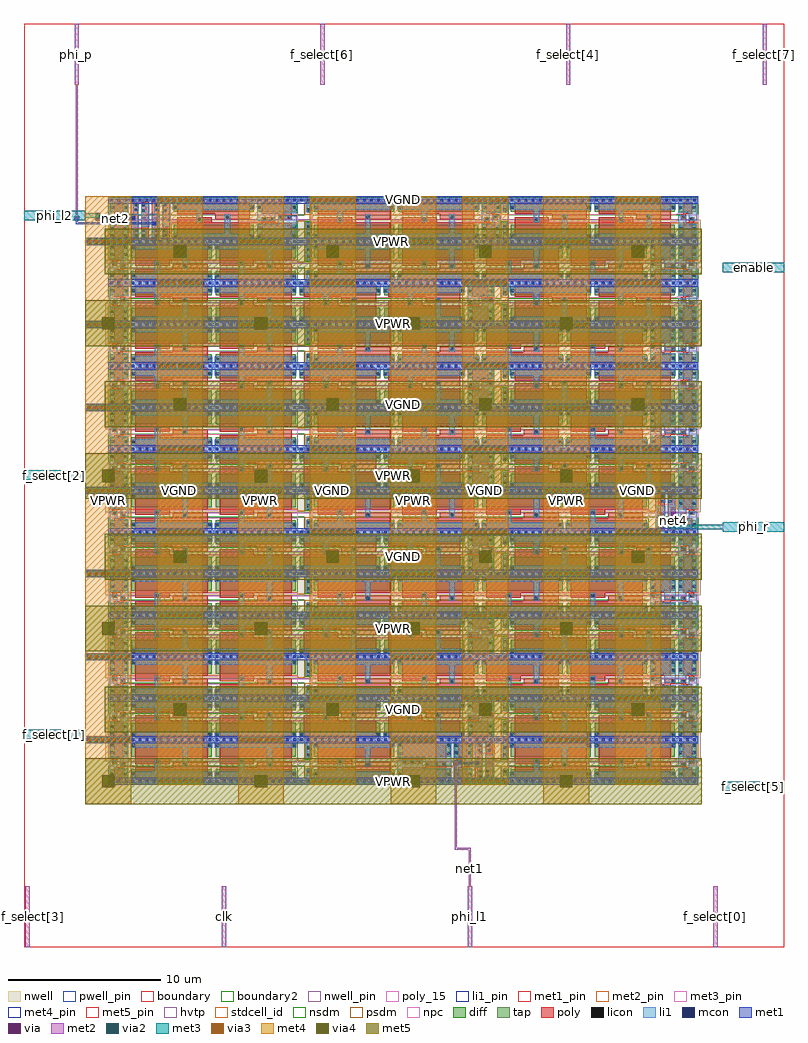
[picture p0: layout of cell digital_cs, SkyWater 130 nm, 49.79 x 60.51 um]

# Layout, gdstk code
from math import pi, radians
import gdstk
lib = gdstk.Library(unit=1e-6, precision=1e-09)
def R(c, l, rs):  # rectangles x0, y0, x1, y1
    for r in rs: c.add(gdstk.rectangle(r[:2], r[2:], *l))
def A(c, l, x, y, w, h, nx, ny, dx, dy):  # array of equal rectangles
    R(c, l, [(x+i*dx, y+j*dy, x+i*dx+w, y+j*dy+h) for i in range(nx) for j in range(ny)])
def P(c, l, *ps):  # polygons
    for p in ps: c.add(gdstk.Polygon(p, *l))
nwell_pin = (64, 16)
nwell = (64, 20)
diff = (65, 20)
tap = (65, 44)
poly_15 = (66, 15)
poly = (66, 20)
licon = (66, 44)
li1_pin = (67, 16)
li1 = (67, 20)
mcon = (67, 44)
met1_pin = (68, 16)
met1 = (68, 20)
via = (68, 44)
met2_pin = (69, 16)
met2 = (69, 20)
via2 = (69, 44)
met3_pin = (70, 16)
met3 = (70, 20)
via3 = (70, 44)
met4_pin = (71, 16)
met4 = (71, 20)
via4 = (71, 44)
met5_pin = (72, 16)
met5 = (72, 20)
hvtp = (78, 44)
stdcell_id = (81, 4)
nsdm = (93, 44)
psdm = (94, 20)
npc = (95, 20)
pwell_pin = (122, 16)
boundary = (235, 4)
boundary2 = (236, 0)

sky130_ef_sc_hd__decap_1 = lib.new_cell('sky130_ef_sc_hd__decap_12')
R(sky130_ef_sc_hd__decap_1, nwell_pin, [(0.145,2.635,0.315,2.805)])
R(sky130_ef_sc_hd__decap_1, nwell, [(-0.19,1.305,5.71,2.91)])
R(sky130_ef_sc_hd__decap_1, diff, [(0.135,0.235,5.385,0.785), (0.135,1.615,5.385,2.485)])
P(sky130_ef_sc_hd__decap_1, poly, [(5.125,2.615),(0.395,2.615),(0.395,1.125),(2.645,1.125),(2.645,1.485),(5.125,1.485)],
  [(5.125,1.275),(2.855,1.275),(2.855,0.915),(0.395,0.915),(0.395,0.105),(5.125,0.105)])
R(sky130_ef_sc_hd__decap_1, licon, [(0.175,0.39,0.345,0.56), (5.175,0.39,5.345,0.56), (3.575,1.025,3.745,1.195), (1.755,1.205,1.925,1.375), (0.175,2.255,0.345,2.425), (5.175,2.255,5.345,2.425)])
R(sky130_ef_sc_hd__decap_1, li1, [(0,-0.085,5.52,0.085), (0.085,0.085,5.43,0.63), (1.67,0.63,2.01,1.46), (3.49,0.95,3.84,2.2), (0.085,2.2,5.43,2.635), (0,2.635,5.52,2.805)])
A(sky130_ef_sc_hd__decap_1, mcon, 0.145, -0.085, 0.17, 0.17, 12, 2, 0.46, 2.72)
R(sky130_ef_sc_hd__decap_1, met1_pin, [(0.145,-0.085,0.315,0.085), (0.145,2.635,0.315,2.805)])
R(sky130_ef_sc_hd__decap_1, hvtp, [(0,1.25,5.52,2.72)])
R(sky130_ef_sc_hd__decap_1, stdcell_id, [(0,0,5.52,2.72)])
R(sky130_ef_sc_hd__decap_1, nsdm, [(0,-0.19,5.52,1.015)])
R(sky130_ef_sc_hd__decap_1, psdm, [(0,1.485,5.52,2.91)])
R(sky130_ef_sc_hd__decap_1, npc, [(0,0.925,5.52,1.475)])
R(sky130_ef_sc_hd__decap_1, pwell_pin, [(0.145,-0.085,0.315,0.085)])
R(sky130_ef_sc_hd__decap_1, boundary2, [(0,0,5.52,2.72)])
sky130_ef_sc_hd__decap_1.add(gdstk.FlexPath([(0,2.72),(5.52,2.72)], 0.48, ends="flush", simple_path=True, layer=68, datatype=20))  # met1
sky130_ef_sc_hd__decap_1.add(gdstk.FlexPath([(0,0),(5.52,0)], 0.48, ends="flush", simple_path=True, layer=68, datatype=20))  # met1
sky130_ef_sc_hd__decap_1.add(gdstk.Label('VGND', (0.23,0), layer=68, texttype=5))
sky130_ef_sc_hd__decap_1.add(gdstk.Label('VPWR', (0.23,2.72), layer=68, texttype=5))
sky130_ef_sc_hd__decap_1.add(gdstk.Label('VPB', (0.23,2.72), layer=64, texttype=5))
sky130_ef_sc_hd__decap_1.add(gdstk.Label('VNB', (0.23,0), layer=64, texttype=59))
sky130_ef_sc_hd__decap_1.add(gdstk.Label('decap_12', (0,0), layer=83, texttype=44))

sky130_fd_sc_hd__decap_3 = lib.new_cell('sky130_fd_sc_hd__decap_3')
R(sky130_fd_sc_hd__decap_3, nwell_pin, [(0.145,2.635,0.315,2.805)])
R(sky130_fd_sc_hd__decap_3, nwell, [(-0.19,1.305,1.57,2.91)])
R(sky130_fd_sc_hd__decap_3, diff, [(0.135,0.235,1.245,0.785), (0.135,1.615,1.245,2.485)])
P(sky130_fd_sc_hd__decap_3, poly, [(1.125,1.255),(0.795,1.255),(0.795,0.915),(0.395,0.915),(0.395,0.105),(0.985,0.105),(0.985,0.925),(1.125,0.925)],
  [(0.985,2.615),(0.395,2.615),(0.395,1.455),(0.255,1.455),(0.255,1.125),(0.585,1.125),(0.585,1.465),(0.985,1.465)])
R(sky130_fd_sc_hd__decap_3, licon, [(0.175,0.4,0.345,0.57), (1.035,0.4,1.205,0.57), (0.875,1.005,1.045,1.175), (0.335,1.205,0.505,1.375), (0.175,1.78,0.345,1.95), (1.035,1.78,1.205,1.95), (0.175,2.255,0.345,2.425), (1.035,2.255,1.205,2.425)])
P(sky130_fd_sc_hd__decap_3, li1, [(1.38,2.805),(0,2.805),(0,2.635),(0.085,2.635),(0.085,1.545),(0.775,1.545),(0.775,1.005),(1.295,1.005),(1.295,2.635),(1.38,2.635)],
  [(1.38,0.085),(1.295,0.085),(1.295,0.835),(0.605,0.835),(0.605,1.375),(0.085,1.375),(0.085,0.085),(0,0.085),(0,-0.085),(1.38,-0.085)])
A(sky130_fd_sc_hd__decap_3, mcon, 0.145, -0.085, 0.17, 0.17, 3, 2, 0.46, 2.72)
R(sky130_fd_sc_hd__decap_3, met1_pin, [(0.145,-0.085,0.315,0.085), (0.145,2.635,0.315,2.805)])
R(sky130_fd_sc_hd__decap_3, hvtp, [(0,1.25,1.38,2.72)])
R(sky130_fd_sc_hd__decap_3, stdcell_id, [(0,0,1.38,2.72)])
R(sky130_fd_sc_hd__decap_3, nsdm, [(0,-0.19,1.38,1.015)])
R(sky130_fd_sc_hd__decap_3, psdm, [(0,1.485,1.38,2.91)])
P(sky130_fd_sc_hd__decap_3, npc, [(1.38,1.345),(0.605,1.345),(0.605,1.475),(0,1.475),(0,0.975),(0.775,0.975),(0.775,0.905),(1.38,0.905)])
R(sky130_fd_sc_hd__decap_3, pwell_pin, [(0.145,-0.085,0.315,0.085)])
R(sky130_fd_sc_hd__decap_3, boundary2, [(0,0,1.38,2.72)])
sky130_fd_sc_hd__decap_3.add(gdstk.FlexPath([(0,2.72),(1.38,2.72)], 0.48, ends="flush", simple_path=True, layer=68, datatype=20))  # met1
sky130_fd_sc_hd__decap_3.add(gdstk.FlexPath([(0,0),(1.38,0)], 0.48, ends="flush", simple_path=True, layer=68, datatype=20))  # met1
sky130_fd_sc_hd__decap_3.add(gdstk.Label('VPWR', (0.23,2.72), layer=68, texttype=5))
sky130_fd_sc_hd__decap_3.add(gdstk.Label('VGND', (0.23,0), layer=68, texttype=5))
sky130_fd_sc_hd__decap_3.add(gdstk.Label('VPB', (0.23,2.72), layer=64, texttype=5))
sky130_fd_sc_hd__decap_3.add(gdstk.Label('VNB', (0.23,0), layer=64, texttype=59))
sky130_fd_sc_hd__decap_3.add(gdstk.Label('decap_3', (0,0), layer=83, texttype=44))

sky130_fd_sc_hd__fill_1 = lib.new_cell('sky130_fd_sc_hd__fill_1')
R(sky130_fd_sc_hd__fill_1, nwell_pin, [(0.155,2.67,0.255,2.755)])
R(sky130_fd_sc_hd__fill_1, nwell, [(-0.19,1.305,0.65,2.91)])
R(sky130_fd_sc_hd__fill_1, mcon, [(0.145,-0.085,0.315,0.085), (0.145,2.635,0.315,2.805)])
R(sky130_fd_sc_hd__fill_1, met1_pin, [(0.11,-0.065,0.29,0.08), (0.11,2.635,0.29,2.785)])
R(sky130_fd_sc_hd__fill_1, hvtp, [(0,1.25,0.46,2.72)])
R(sky130_fd_sc_hd__fill_1, stdcell_id, [(0,0,0.46,2.72)])
R(sky130_fd_sc_hd__fill_1, nsdm, [(0,-0.19,0.46,1.015)])
R(sky130_fd_sc_hd__fill_1, psdm, [(0,1.355,0.46,2.91)])
R(sky130_fd_sc_hd__fill_1, pwell_pin, [(0.14,-0.055,0.26,0.055)])
sky130_fd_sc_hd__fill_1.add(gdstk.FlexPath([(0,0),(0.46,0)], 0.17, ends="flush", simple_path=True, layer=67, datatype=20))  # li1
sky130_fd_sc_hd__fill_1.add(gdstk.FlexPath([(0,2.72),(0.46,2.72)], 0.17, ends="flush", simple_path=True, layer=67, datatype=20))  # li1
sky130_fd_sc_hd__fill_1.add(gdstk.FlexPath([(0,2.72),(0.46,2.72)], 0.48, ends="flush", simple_path=True, layer=68, datatype=20))  # met1
sky130_fd_sc_hd__fill_1.add(gdstk.FlexPath([(0,0),(0.46,0)], 0.48, ends="flush", simple_path=True, layer=68, datatype=20))  # met1
sky130_fd_sc_hd__fill_1.add(gdstk.Label('VPWR', (0.205,2.72), layer=68, texttype=5))
sky130_fd_sc_hd__fill_1.add(gdstk.Label('VGND', (0.205,0), layer=68, texttype=5))
sky130_fd_sc_hd__fill_1.add(gdstk.Label('VPB', (0.23,2.72), layer=64, texttype=5))
sky130_fd_sc_hd__fill_1.add(gdstk.Label('VNB', (0.23,0), layer=64, texttype=59))
sky130_fd_sc_hd__fill_1.add(gdstk.Label('fill_1', (0,0), layer=83, texttype=44))

sky130_fd_sc_hd__tapvpwr = lib.new_cell('sky130_fd_sc_hd__tapvpwrvgnd_1')
R(sky130_fd_sc_hd__tapvpwr, nwell, [(-0.19,1.305,0.65,2.91)])
R(sky130_fd_sc_hd__tapvpwr, tap, [(0.145,0.32,0.315,0.845), (0.145,1.525,0.315,2.4)])
R(sky130_fd_sc_hd__tapvpwr, licon, [(0.145,0.555,0.315,0.725), (0.145,1.645,0.315,1.815), (0.145,2.11,0.315,2.28)])
R(sky130_fd_sc_hd__tapvpwr, li1, [(0,-0.085,0.46,0.085), (0.085,0,0.375,0.81), (0.085,1.47,0.375,2.72), (0,2.635,0.46,2.805)])
R(sky130_fd_sc_hd__tapvpwr, mcon, [(0.145,-0.085,0.315,0.085), (0.145,2.635,0.315,2.805)])
R(sky130_fd_sc_hd__tapvpwr, met1_pin, [(0.105,-0.09,0.36,0.1), (0.11,2.62,0.375,2.765)])
R(sky130_fd_sc_hd__tapvpwr, met1, [(0,-0.24,0.46,0.24), (0,2.48,0.46,2.96)])
R(sky130_fd_sc_hd__tapvpwr, hvtp, [(0,1.25,0.46,2.72)])
R(sky130_fd_sc_hd__tapvpwr, stdcell_id, [(0,0,0.46,2.72)])
R(sky130_fd_sc_hd__tapvpwr, nsdm, [(0,-0.19,0.46,0.19), (0,1.395,0.46,2.53)])
R(sky130_fd_sc_hd__tapvpwr, psdm, [(0,0.19,0.46,0.975), (0,2.53,0.46,2.91)])
sky130_fd_sc_hd__tapvpwr.add(gdstk.Label('VPWR', (0.23,2.72), layer=68, texttype=5))
sky130_fd_sc_hd__tapvpwr.add(gdstk.Label('VGND', (0.23,0), layer=68, texttype=5))
sky130_fd_sc_hd__tapvpwr.add(gdstk.Label('tapvpwrvgnd_1', (0,0), layer=83, texttype=44))

sky130_fd_sc_hd__decap_8 = lib.new_cell('sky130_fd_sc_hd__decap_8')
R(sky130_fd_sc_hd__decap_8, nwell_pin, [(0.145,2.635,0.315,2.805)])
R(sky130_fd_sc_hd__decap_8, nwell, [(-0.19,1.305,3.87,2.91)])
R(sky130_fd_sc_hd__decap_8, diff, [(0.135,0.235,3.545,0.785), (0.135,1.615,3.545,2.485)])
P(sky130_fd_sc_hd__decap_8, poly, [(3.285,2.615),(0.395,2.615),(0.395,1.125),(1.715,1.125),(1.715,1.485),(3.285,1.485)],
  [(3.285,1.275),(1.925,1.275),(1.925,0.915),(0.395,0.915),(0.395,0.105),(3.285,0.105)])
A(sky130_fd_sc_hd__decap_8, licon, 2.005, 1.025, 0.17, 0.17, 3, 1, 0.515, 0)
A(sky130_fd_sc_hd__decap_8, licon, 0.475, 1.205, 0.17, 0.17, 3, 1, 0.495, 0)
R(sky130_fd_sc_hd__decap_8, licon, [(0.175,0.39,0.345,0.56), (3.335,0.39,3.505,0.56), (0.175,1.745,0.345,1.915), (3.335,1.745,3.505,1.915), (0.175,2.255,0.345,2.425), (3.335,2.255,3.505,2.425)])
P(sky130_fd_sc_hd__decap_8, li1, [(3.68,0.085),(3.595,0.085),(3.595,0.855),(1.735,0.855),(1.735,1.375),(0.085,1.375),(0.085,0.085),(0,0.085),(0,-0.085),(3.68,-0.085)],
  [(3.68,2.805),(0,2.805),(0,2.635),(0.085,2.635),(0.085,1.545),(1.905,1.545),(1.905,1.025),(3.595,1.025),(3.595,2.635),(3.68,2.635)])
A(sky130_fd_sc_hd__decap_8, mcon, 0.145, -0.085, 0.17, 0.17, 8, 2, 0.46, 2.72)
R(sky130_fd_sc_hd__decap_8, met1_pin, [(0.145,-0.085,0.315,0.085), (0.145,2.635,0.315,2.805)])
R(sky130_fd_sc_hd__decap_8, hvtp, [(0,1.25,3.68,2.72)])
R(sky130_fd_sc_hd__decap_8, stdcell_id, [(0,0,3.68,2.72)])
R(sky130_fd_sc_hd__decap_8, nsdm, [(0,-0.19,3.68,1.015)])
R(sky130_fd_sc_hd__decap_8, psdm, [(0,1.485,3.68,2.91)])
P(sky130_fd_sc_hd__decap_8, npc, [(3.68,1.345),(1.735,1.345),(1.735,1.475),(0,1.475),(0,0.975),(1.905,0.975),(1.905,0.925),(3.68,0.925)])
R(sky130_fd_sc_hd__decap_8, pwell_pin, [(0.145,-0.085,0.315,0.085)])
R(sky130_fd_sc_hd__decap_8, boundary2, [(0,0,3.68,2.72)])
sky130_fd_sc_hd__decap_8.add(gdstk.FlexPath([(0,2.72),(3.68,2.72)], 0.48, ends="flush", simple_path=True, layer=68, datatype=20))  # met1
sky130_fd_sc_hd__decap_8.add(gdstk.FlexPath([(0,0),(3.68,0)], 0.48, ends="flush", simple_path=True, layer=68, datatype=20))  # met1
sky130_fd_sc_hd__decap_8.add(gdstk.Label('VPWR', (0.23,2.72), layer=68, texttype=5))
sky130_fd_sc_hd__decap_8.add(gdstk.Label('VGND', (0.23,0), layer=68, texttype=5))
sky130_fd_sc_hd__decap_8.add(gdstk.Label('VPB', (0.23,2.72), layer=64, texttype=5))
sky130_fd_sc_hd__decap_8.add(gdstk.Label('VNB', (0.23,0), layer=64, texttype=59))
sky130_fd_sc_hd__decap_8.add(gdstk.Label('decap_8', (0,0), layer=83, texttype=44))

sky130_fd_sc_hd__decap_4 = lib.new_cell('sky130_fd_sc_hd__decap_4')
R(sky130_fd_sc_hd__decap_4, nwell_pin, [(0.145,2.635,0.315,2.805)])
R(sky130_fd_sc_hd__decap_4, nwell, [(-0.19,1.305,2.03,2.91)])
R(sky130_fd_sc_hd__decap_4, diff, [(0.135,0.235,1.705,0.785), (0.135,1.615,1.705,2.485)])
P(sky130_fd_sc_hd__decap_4, poly, [(1.445,2.615),(0.395,2.615),(0.395,1.455),(0.105,1.455),(0.105,1.125),(0.815,1.125),(0.815,1.485),(1.445,1.485)],
  [(1.735,1.275),(1.025,1.275),(1.025,0.915),(0.395,0.915),(0.395,0.105),(1.445,0.105),(1.445,0.945),(1.735,0.945)])
R(sky130_fd_sc_hd__decap_4, licon, [(0.175,0.425,0.345,0.595), (1.495,0.425,1.665,0.595), (1.485,1.025,1.655,1.195), (0.185,1.205,0.355,1.375), (0.175,1.745,0.345,1.915), (1.495,1.745,1.665,1.915), (0.175,2.255,0.345,2.425), (1.495,2.255,1.665,2.425)])
P(sky130_fd_sc_hd__decap_4, li1, [(1.84,2.805),(0,2.805),(0,2.635),(0.085,2.635),(0.085,1.545),(1.005,1.545),(1.005,1.025),(1.755,1.025),(1.755,2.635),(1.84,2.635)],
  [(1.84,0.085),(1.755,0.085),(1.755,0.855),(0.835,0.855),(0.835,1.375),(0.085,1.375),(0.085,0.085),(0,0.085),(0,-0.085),(1.84,-0.085)])
A(sky130_fd_sc_hd__decap_4, mcon, 0.145, -0.085, 0.17, 0.17, 4, 2, 0.46, 2.72)
R(sky130_fd_sc_hd__decap_4, met1_pin, [(0.145,-0.085,0.315,0.085), (0.145,2.635,0.315,2.805)])
R(sky130_fd_sc_hd__decap_4, hvtp, [(0,1.25,1.84,2.72)])
R(sky130_fd_sc_hd__decap_4, stdcell_id, [(0,0,1.84,2.72)])
R(sky130_fd_sc_hd__decap_4, nsdm, [(0,-0.19,1.84,1.015)])
R(sky130_fd_sc_hd__decap_4, psdm, [(0,1.485,1.84,2.91)])
P(sky130_fd_sc_hd__decap_4, npc, [(1.84,1.345),(0.455,1.345),(0.455,1.475),(0,1.475),(0,0.975),(1.385,0.975),(1.385,0.925),(1.84,0.925)])
R(sky130_fd_sc_hd__decap_4, pwell_pin, [(0.145,-0.085,0.315,0.085)])
R(sky130_fd_sc_hd__decap_4, boundary2, [(0,0,1.84,2.72)])
sky130_fd_sc_hd__decap_4.add(gdstk.FlexPath([(0,2.72),(1.84,2.72)], 0.48, ends="flush", simple_path=True, layer=68, datatype=20))  # met1
sky130_fd_sc_hd__decap_4.add(gdstk.FlexPath([(0,0),(1.84,0)], 0.48, ends="flush", simple_path=True, layer=68, datatype=20))  # met1
sky130_fd_sc_hd__decap_4.add(gdstk.Label('VGND', (0.23,0), layer=68, texttype=5))
sky130_fd_sc_hd__decap_4.add(gdstk.Label('VPWR', (0.23,2.72), layer=68, texttype=5))
sky130_fd_sc_hd__decap_4.add(gdstk.Label('VPB', (0.23,2.72), layer=64, texttype=5))
sky130_fd_sc_hd__decap_4.add(gdstk.Label('VNB', (0.23,0), layer=64, texttype=59))
sky130_fd_sc_hd__decap_4.add(gdstk.Label('decap_4', (0,0), layer=83, texttype=44))

sky130_fd_sc_hd__conb_1 = lib.new_cell('sky130_fd_sc_hd__conb_1')
R(sky130_fd_sc_hd__conb_1, nwell_pin, [(0.145,2.635,0.315,2.805)])
R(sky130_fd_sc_hd__conb_1, nwell, [(-0.19,1.305,1.57,2.91)])
R(sky130_fd_sc_hd__conb_1, poly_15, [(0.105,1.16,0.585,1.205), (0.795,1.16,1.275,1.205)])
R(sky130_fd_sc_hd__conb_1, poly, [(0.105,0.105,0.585,2.615), (0.795,0.105,1.275,2.615)])
R(sky130_fd_sc_hd__conb_1, licon, [(0.855,0.235,1.025,0.405), (0.355,0.255,0.525,0.425), (0.855,0.575,1.025,0.745), (0.355,0.595,0.525,0.765), (0.355,1.91,0.525,2.08), (0.855,1.91,1.025,2.08), (0.355,2.25,0.525,2.42), (0.855,2.25,1.025,2.42)])
R(sky130_fd_sc_hd__conb_1, li1_pin, [(0.335,1.125,0.505,1.295), (0.97,1.445,1.14,1.615)])
R(sky130_fd_sc_hd__conb_1, li1, [(0.085,0.255,0.605,1.74), (0.775,0.915,1.295,2.465)])
P(sky130_fd_sc_hd__conb_1, li1, [(1.38,0.085),(1.115,0.085),(1.115,0.745),(0.775,0.745),(0.775,0.085),(0,0.085),(0,-0.085),(1.38,-0.085)],
  [(1.38,2.805),(0,2.805),(0,2.635),(0.275,2.635),(0.275,1.91),(0.605,1.91),(0.605,2.635),(1.38,2.635)])
A(sky130_fd_sc_hd__conb_1, mcon, 0.145, -0.085, 0.17, 0.17, 3, 2, 0.46, 2.72)
R(sky130_fd_sc_hd__conb_1, met1_pin, [(0.145,-0.085,0.315,0.085), (0.145,2.635,0.315,2.805)])
R(sky130_fd_sc_hd__conb_1, hvtp, [(0,1.25,1.38,2.72)])
R(sky130_fd_sc_hd__conb_1, stdcell_id, [(0,0,1.38,2.72)])
R(sky130_fd_sc_hd__conb_1, nsdm, [(0,-0.19,1.38,1.015)])
R(sky130_fd_sc_hd__conb_1, psdm, [(0,2.53,1.38,2.91)])
R(sky130_fd_sc_hd__conb_1, npc, [(0.255,1.81,1.125,2.52)])
P(sky130_fd_sc_hd__conb_1, npc, [(1.38,1.345),(0,1.345),(0,0.905),(0.255,0.905),(0.255,0.135),(1.125,0.135),(1.125,0.905),(1.38,0.905)])
R(sky130_fd_sc_hd__conb_1, pwell_pin, [(0.145,-0.085,0.315,0.085)])
R(sky130_fd_sc_hd__conb_1, boundary2, [(0,0,1.38,2.72)])
sky130_fd_sc_hd__conb_1.add(gdstk.FlexPath([(0,0),(1.38,0)], 0.48, ends="flush", simple_path=True, layer=68, datatype=20))  # met1
sky130_fd_sc_hd__conb_1.add(gdstk.FlexPath([(0,2.72),(1.38,2.72)], 0.48, ends="flush", simple_path=True, layer=68, datatype=20))  # met1
sky130_fd_sc_hd__conb_1.add(gdstk.Label('LO', (1.055,1.53), layer=67, texttype=5))
sky130_fd_sc_hd__conb_1.add(gdstk.Label('HI', (0.42,1.21), layer=67, texttype=5))
sky130_fd_sc_hd__conb_1.add(gdstk.Label('VPB', (0.23,2.72), layer=64, texttype=5))
sky130_fd_sc_hd__conb_1.add(gdstk.Label('VNB', (0.23,0), layer=64, texttype=59))
sky130_fd_sc_hd__conb_1.add(gdstk.Label('VGND', (0.23,0), layer=68, texttype=5))
sky130_fd_sc_hd__conb_1.add(gdstk.Label('VPWR', (0.23,2.72), layer=68, texttype=5))
sky130_fd_sc_hd__conb_1.add(gdstk.Label('conb_1', (0,0), layer=83, texttype=44))
sky130_fd_sc_hd__conb_1.add(gdstk.Label('resistive_li1_ok', (0.225,1.365), layer=83, texttype=44))
sky130_fd_sc_hd__conb_1.add(gdstk.Label('resistive_li1_ok', (1.165,1.365), layer=83, texttype=44))
sky130_fd_sc_hd__conb_1.add(gdstk.Label('no_jumper_check', (0.93,1.29), layer=83, texttype=44))
sky130_fd_sc_hd__conb_1.add(gdstk.Label('no_jumper_check', (0.415,1.29), layer=83, texttype=44))

sky130_fd_sc_hd__decap_6 = lib.new_cell('sky130_fd_sc_hd__decap_6')
R(sky130_fd_sc_hd__decap_6, nwell_pin, [(0.145,2.635,0.315,2.805)])
R(sky130_fd_sc_hd__decap_6, nwell, [(-0.19,1.305,2.95,2.91)])
R(sky130_fd_sc_hd__decap_6, diff, [(0.135,0.235,2.625,0.785), (0.135,1.615,2.625,2.485)])
P(sky130_fd_sc_hd__decap_6, poly, [(2.365,2.615),(0.395,2.615),(0.395,1.125),(1.275,1.125),(1.275,1.485),(2.365,1.485)],
  [(2.365,1.275),(1.485,1.275),(1.485,0.915),(0.395,0.915),(0.395,0.105),(2.365,0.105)])
R(sky130_fd_sc_hd__decap_6, licon, [(0.175,0.39,0.345,0.56), (2.415,0.39,2.585,0.56), (1.565,1.025,1.735,1.195), (2.115,1.025,2.285,1.195), (0.475,1.205,0.645,1.375), (1.025,1.205,1.195,1.375), (0.175,1.745,0.345,1.915), (2.415,1.745,2.585,1.915), (0.175,2.255,0.345,2.425), (2.415,2.255,2.585,2.425)])
P(sky130_fd_sc_hd__decap_6, li1, [(2.76,0.085),(2.675,0.085),(2.675,0.855),(1.295,0.855),(1.295,1.375),(0.085,1.375),(0.085,0.085),(0,0.085),(0,-0.085),(2.76,-0.085)],
  [(2.76,2.805),(0,2.805),(0,2.635),(0.085,2.635),(0.085,1.545),(1.465,1.545),(1.465,1.025),(2.675,1.025),(2.675,2.635),(2.76,2.635)])
A(sky130_fd_sc_hd__decap_6, mcon, 0.145, -0.085, 0.17, 0.17, 6, 2, 0.46, 2.72)
R(sky130_fd_sc_hd__decap_6, met1_pin, [(0.145,-0.085,0.315,0.085), (0.145,2.635,0.315,2.805)])
R(sky130_fd_sc_hd__decap_6, hvtp, [(0,1.25,2.76,2.72)])
R(sky130_fd_sc_hd__decap_6, stdcell_id, [(0,0,2.76,2.72)])
R(sky130_fd_sc_hd__decap_6, nsdm, [(0,-0.19,2.76,1.015)])
R(sky130_fd_sc_hd__decap_6, psdm, [(0,1.485,2.76,2.91)])
P(sky130_fd_sc_hd__decap_6, npc, [(2.76,1.345),(1.295,1.345),(1.295,1.475),(0,1.475),(0,0.975),(1.465,0.975),(1.465,0.925),(2.76,0.925)])
R(sky130_fd_sc_hd__decap_6, pwell_pin, [(0.145,-0.085,0.315,0.085)])
R(sky130_fd_sc_hd__decap_6, boundary2, [(0,0,2.76,2.72)])
sky130_fd_sc_hd__decap_6.add(gdstk.FlexPath([(0,2.72),(2.76,2.72)], 0.48, ends="flush", simple_path=True, layer=68, datatype=20))  # met1
sky130_fd_sc_hd__decap_6.add(gdstk.FlexPath([(0,0),(2.76,0)], 0.48, ends="flush", simple_path=True, layer=68, datatype=20))  # met1
sky130_fd_sc_hd__decap_6.add(gdstk.Label('VPWR', (0.23,2.72), layer=68, texttype=5))
sky130_fd_sc_hd__decap_6.add(gdstk.Label('VGND', (0.23,0), layer=68, texttype=5))
sky130_fd_sc_hd__decap_6.add(gdstk.Label('VPB', (0.23,2.72), layer=64, texttype=5))
sky130_fd_sc_hd__decap_6.add(gdstk.Label('VNB', (0.23,0), layer=64, texttype=59))
sky130_fd_sc_hd__decap_6.add(gdstk.Label('decap_6', (0,0), layer=83, texttype=44))

digital_cs = lib.new_cell('digital_cs')
R(digital_cs, li1, [(29.585,11.985,29.755,12.155), (42.465,28.305,42.635,28.475), (8.425,47.345,8.595,47.515), (7.045,47.685,7.215,47.855)])
R(digital_cs, mcon, [(29.585,11.985,29.755,12.155), (42.465,28.305,42.635,28.475), (8.425,47.345,8.595,47.515), (7.045,47.685,7.215,47.855)])
A(digital_cs, met1, 5.52, 10.64, 38.64, 0.48, 1, 8, 0, 5.44)
A(digital_cs, met1, 4.02, 13.36, 40.14, 0.48, 1, 7, 0, 5.44)
R(digital_cs, met1, [(28.13,11.94,28.45,12), (29.525,11.955,29.815,12), (28.13,12,29.815,12.14), (28.13,12.14,28.45,12.2), (29.525,12.14,29.815,12.185), (42.39,28.26,42.71,28.52), (8.365,47.315,8.655,47.36), (3.38,47.36,8.655,47.5), (3.38,47.5,3.52,47.64), (8.365,47.5,8.655,47.545), (3.29,47.64,3.61,47.9), (4.67,47.64,4.99,47.7), (6.985,47.655,7.275,47.7), (4.67,47.7,7.275,47.84), (4.67,47.84,4.99,47.9), (6.985,47.84,7.275,47.885)])
A(digital_cs, via, 8.865, 10.805, 0.15, 0.15, 9, 8, 0.32, 5.44)
A(digital_cs, via, 18.865, 10.805, 0.15, 0.15, 9, 8, 0.32, 5.44)
A(digital_cs, via, 28.865, 10.805, 0.15, 0.15, 9, 8, 0.32, 5.44)
A(digital_cs, via, 38.865, 10.805, 0.15, 0.15, 9, 8, 0.32, 5.44)
A(digital_cs, via, 4.165, 13.525, 0.15, 0.15, 9, 7, 0.32, 5.44)
A(digital_cs, via, 14.165, 13.525, 0.15, 0.15, 9, 7, 0.32, 5.44)
A(digital_cs, via, 24.165, 13.525, 0.15, 0.15, 9, 7, 0.32, 5.44)
A(digital_cs, via, 34.165, 13.525, 0.15, 0.15, 9, 7, 0.32, 5.44)
R(digital_cs, via, [(28.215,11.995,28.365,12.145), (42.475,28.315,42.625,28.465), (3.375,47.695,3.525,47.845), (4.755,47.695,4.905,47.845)])
A(digital_cs, met2_pin, 12.97, 0, 0.28, 4, 3, 1, 16.1, 0)
A(digital_cs, met2_pin, 3.31, 56.51, 0.28, 4, 3, 1, 16.1, 0)
R(digital_cs, met2_pin, [(0.09,0,0.37,4), (48.39,56.51,48.67,60.51)])
A(digital_cs, met2, 12.97, 0, 0.28, 4, 3, 1, 16.1, 0)
A(digital_cs, met2, 8.81, 10.695, 2.82, 0.37, 4, 8, 10, 5.44)
A(digital_cs, met2, 4.11, 13.415, 2.82, 0.37, 4, 7, 10, 5.44)
A(digital_cs, met2, 3.31, 56.51, 0.28, 4, 3, 1, 16.1, 0)
R(digital_cs, met2, [(0.09,0,0.37,4), (29.14,4,29.28,6.39), (28.22,6.39,29.28,6.53), (28.22,6.53,28.36,11.91), (28.16,11.91,28.42,12.23), (42.41,27.355,42.69,27.725), (42.48,27.725,42.62,28.23), (42.42,28.23,42.68,28.55), (3.32,47.61,3.58,47.93), (4.7,47.61,4.96,47.755), (4.69,47.755,4.97,48.125), (3.38,47.93,3.52,56.51), (48.39,56.51,48.67,60.51)])
A(digital_cs, via2, 8.92, 10.78, 0.2, 0.2, 7, 8, 0.4, 5.44)
A(digital_cs, via2, 18.92, 10.78, 0.2, 0.2, 7, 8, 0.4, 5.44)
A(digital_cs, via2, 28.92, 10.78, 0.2, 0.2, 7, 8, 0.4, 5.44)
A(digital_cs, via2, 38.92, 10.78, 0.2, 0.2, 7, 8, 0.4, 5.44)
A(digital_cs, via2, 4.22, 13.5, 0.2, 0.2, 7, 7, 0.4, 5.44)
A(digital_cs, via2, 14.22, 13.5, 0.2, 0.2, 7, 7, 0.4, 5.44)
A(digital_cs, via2, 24.22, 13.5, 0.2, 0.2, 7, 7, 0.4, 5.44)
A(digital_cs, via2, 34.22, 13.5, 0.2, 0.2, 7, 7, 0.4, 5.44)
R(digital_cs, via2, [(42.45,27.44,42.65,27.64), (4.73,47.84,4.93,48.04)])
A(digital_cs, met3_pin, 45.79, 10.24, 4, 0.6, 1, 3, 0, 17)
A(digital_cs, met3_pin, 0, 13.64, 4, 0.6, 1, 3, 0, 17)
A(digital_cs, met3, 8.83, 10.715, 2.78, 0.33, 4, 8, 10, 5.44)
A(digital_cs, met3, 4.13, 13.435, 2.78, 0.33, 4, 7, 10, 5.44)
R(digital_cs, met3, [(45.79,10.24,49.79,10.84), (0,13.64,4,14.24), (45.79,27.24,49.79,27.39), (42.385,27.375,42.715,27.39), (42.385,27.39,49.79,27.69), (42.385,27.69,42.715,27.705), (45.79,27.69,49.79,27.84), (0,30.64,4,31.24), (45.79,44.24,49.79,44.84), (0,47.64,4,47.79), (4.665,47.775,4.995,47.79), (0,47.79,4.995,48.09), (0,48.09,4,48.24), (4.665,48.09,4.995,48.105)])
A(digital_cs, via3, 8.92, 10.78, 0.2, 0.2, 7, 8, 0.4, 5.44)
A(digital_cs, via3, 18.92, 10.78, 0.2, 0.2, 7, 8, 0.4, 5.44)
A(digital_cs, via3, 28.92, 10.78, 0.2, 0.2, 7, 8, 0.4, 5.44)
A(digital_cs, via3, 38.92, 10.78, 0.2, 0.2, 7, 8, 0.4, 5.44)
A(digital_cs, via3, 4.22, 13.5, 0.2, 0.2, 7, 7, 0.4, 5.44)
A(digital_cs, via3, 14.22, 13.5, 0.2, 0.2, 7, 7, 0.4, 5.44)
A(digital_cs, via3, 24.22, 13.5, 0.2, 0.2, 7, 7, 0.4, 5.44)
A(digital_cs, via3, 34.22, 13.5, 0.2, 0.2, 7, 7, 0.4, 5.44)
A(digital_cs, met4_pin, 4.02, 9.38, 3, 39.82, 4, 1, 10, 0)
A(digital_cs, met4_pin, 8.72, 10.64, 3, 38.56, 4, 1, 10, 0)
A(digital_cs, met4, 4.02, 9.38, 3, 39.82, 4, 1, 10, 0)
A(digital_cs, met4, 8.72, 10.64, 3, 38.56, 4, 1, 10, 0)
A(digital_cs, via4, 5.12, 10.48, 0.8, 0.8, 4, 4, 10, 10)
A(digital_cs, via4, 9.82, 15.18, 0.8, 0.8, 4, 4, 10, 10)
A(digital_cs, met5_pin, 4.02, 9.38, 40.38, 3, 1, 4, 0, 10)
A(digital_cs, met5_pin, 5.28, 14.08, 39.12, 3, 1, 4, 0, 10)
A(digital_cs, met5, 4.02, 9.38, 40.38, 3, 1, 4, 0, 10)
A(digital_cs, met5, 5.28, 14.08, 39.12, 3, 1, 4, 0, 10)
R(digital_cs, boundary, [(0,0,49.79,60.51)])
digital_cs.add(gdstk.Reference(sky130_ef_sc_hd__decap_1, (6.9,10.88)))
digital_cs.add(gdstk.Reference(sky130_ef_sc_hd__decap_1, (6.9,16.32), x_reflection=True))
digital_cs.add(gdstk.Reference(sky130_fd_sc_hd__decap_3, (5.52,10.88)))
digital_cs.add(gdstk.Reference(sky130_fd_sc_hd__decap_3, (5.52,16.32), x_reflection=True))
digital_cs.add(gdstk.Reference(sky130_ef_sc_hd__decap_1, (12.42,10.88)))
digital_cs.add(gdstk.Reference(sky130_ef_sc_hd__decap_1, (12.42,16.32), x_reflection=True))
digital_cs.add(gdstk.Reference(sky130_fd_sc_hd__fill_1, (17.94,10.88)))
digital_cs.add(gdstk.Reference(sky130_ef_sc_hd__decap_1, (18.86,10.88)))
digital_cs.add(gdstk.Reference(sky130_ef_sc_hd__decap_1, (17.94,16.32), x_reflection=True))
digital_cs.add(gdstk.Reference(sky130_fd_sc_hd__tapvpwr, (18.4,10.88)))
digital_cs.add(gdstk.Reference(sky130_fd_sc_hd__decap_8, (24.38,10.88)))
digital_cs.add(gdstk.Reference(sky130_fd_sc_hd__decap_3, (28.06,10.88)))
digital_cs.add(gdstk.Reference(sky130_ef_sc_hd__decap_1, (23.46,16.32), x_reflection=True))
digital_cs.add(gdstk.Reference(sky130_fd_sc_hd__decap_4, (28.98,16.32), x_reflection=True))
digital_cs.add(gdstk.Reference(sky130_fd_sc_hd__fill_1, (30.82,10.88)))
digital_cs.add(gdstk.Reference(sky130_ef_sc_hd__decap_1, (31.74,10.88)))
digital_cs.add(gdstk.Reference(sky130_fd_sc_hd__fill_1, (30.82,16.32), x_reflection=True))
digital_cs.add(gdstk.Reference(sky130_ef_sc_hd__decap_1, (31.74,16.32), x_reflection=True))
digital_cs.add(gdstk.Reference(sky130_fd_sc_hd__tapvpwr, (31.28,10.88)))
digital_cs.add(gdstk.Reference(sky130_fd_sc_hd__tapvpwr, (31.28,16.32), x_reflection=True))
digital_cs.add(gdstk.Reference(sky130_fd_sc_hd__conb_1, (30.82,10.88), rotation=pi, x_reflection=True))
digital_cs.add(gdstk.Reference(sky130_ef_sc_hd__decap_1, (37.26,10.88)))
digital_cs.add(gdstk.Reference(sky130_ef_sc_hd__decap_1, (37.26,16.32), x_reflection=True))
digital_cs.add(gdstk.Reference(sky130_fd_sc_hd__decap_3, (44.16,10.88), rotation=pi, x_reflection=True))
digital_cs.add(gdstk.Reference(sky130_fd_sc_hd__decap_3, (44.16,16.32), rotation=pi))
digital_cs.add(gdstk.Reference(sky130_ef_sc_hd__decap_1, (6.9,16.32)))
digital_cs.add(gdstk.Reference(sky130_fd_sc_hd__decap_3, (5.52,16.32)))
digital_cs.add(gdstk.Reference(sky130_ef_sc_hd__decap_1, (12.42,16.32)))
digital_cs.add(gdstk.Reference(sky130_fd_sc_hd__fill_1, (17.94,16.32)))
digital_cs.add(gdstk.Reference(sky130_ef_sc_hd__decap_1, (18.86,16.32)))
digital_cs.add(gdstk.Reference(sky130_fd_sc_hd__tapvpwr, (18.4,16.32)))
digital_cs.add(gdstk.Reference(sky130_ef_sc_hd__decap_1, (24.38,16.32)))
digital_cs.add(gdstk.Reference(sky130_ef_sc_hd__decap_1, (29.9,16.32)))
digital_cs.add(gdstk.Reference(sky130_ef_sc_hd__decap_1, (35.42,16.32)))
digital_cs.add(gdstk.Reference(sky130_fd_sc_hd__decap_4, (40.94,16.32)))
digital_cs.add(gdstk.Reference(sky130_fd_sc_hd__decap_3, (44.16,16.32), rotation=pi, x_reflection=True))
digital_cs.add(gdstk.Reference(sky130_ef_sc_hd__decap_1, (6.9,21.76), x_reflection=True))
digital_cs.add(gdstk.Reference(sky130_fd_sc_hd__decap_3, (5.52,21.76), x_reflection=True))
digital_cs.add(gdstk.Reference(sky130_ef_sc_hd__decap_1, (12.42,21.76), x_reflection=True))
digital_cs.add(gdstk.Reference(sky130_ef_sc_hd__decap_1, (17.94,21.76), x_reflection=True))
digital_cs.add(gdstk.Reference(sky130_ef_sc_hd__decap_1, (23.46,21.76), x_reflection=True))
digital_cs.add(gdstk.Reference(sky130_fd_sc_hd__decap_4, (28.98,21.76), x_reflection=True))
digital_cs.add(gdstk.Reference(sky130_fd_sc_hd__fill_1, (30.82,21.76), x_reflection=True))
digital_cs.add(gdstk.Reference(sky130_ef_sc_hd__decap_1, (31.74,21.76), x_reflection=True))
digital_cs.add(gdstk.Reference(sky130_fd_sc_hd__tapvpwr, (31.28,21.76), x_reflection=True))
digital_cs.add(gdstk.Reference(sky130_ef_sc_hd__decap_1, (37.26,21.76), x_reflection=True))
digital_cs.add(gdstk.Reference(sky130_fd_sc_hd__decap_3, (44.16,21.76), rotation=pi))
digital_cs.add(gdstk.Reference(sky130_ef_sc_hd__decap_1, (6.9,21.76)))
digital_cs.add(gdstk.Reference(sky130_fd_sc_hd__decap_3, (5.52,21.76)))
digital_cs.add(gdstk.Reference(sky130_ef_sc_hd__decap_1, (12.42,21.76)))
digital_cs.add(gdstk.Reference(sky130_fd_sc_hd__fill_1, (17.94,21.76)))
digital_cs.add(gdstk.Reference(sky130_ef_sc_hd__decap_1, (18.86,21.76)))
digital_cs.add(gdstk.Reference(sky130_fd_sc_hd__tapvpwr, (18.4,21.76)))
digital_cs.add(gdstk.Reference(sky130_ef_sc_hd__decap_1, (24.38,21.76)))
digital_cs.add(gdstk.Reference(sky130_ef_sc_hd__decap_1, (29.9,21.76)))
digital_cs.add(gdstk.Reference(sky130_ef_sc_hd__decap_1, (35.42,21.76)))
digital_cs.add(gdstk.Reference(sky130_fd_sc_hd__decap_4, (40.94,21.76)))
digital_cs.add(gdstk.Reference(sky130_fd_sc_hd__decap_3, (44.16,21.76), rotation=pi, x_reflection=True))
digital_cs.add(gdstk.Reference(sky130_ef_sc_hd__decap_1, (6.9,27.2), x_reflection=True))
digital_cs.add(gdstk.Reference(sky130_fd_sc_hd__decap_3, (5.52,27.2), x_reflection=True))
digital_cs.add(gdstk.Reference(sky130_ef_sc_hd__decap_1, (12.42,27.2), x_reflection=True))
digital_cs.add(gdstk.Reference(sky130_ef_sc_hd__decap_1, (17.94,27.2), x_reflection=True))
digital_cs.add(gdstk.Reference(sky130_ef_sc_hd__decap_1, (23.46,27.2), x_reflection=True))
digital_cs.add(gdstk.Reference(sky130_fd_sc_hd__decap_4, (28.98,27.2), x_reflection=True))
digital_cs.add(gdstk.Reference(sky130_fd_sc_hd__fill_1, (30.82,27.2), x_reflection=True))
digital_cs.add(gdstk.Reference(sky130_ef_sc_hd__decap_1, (31.74,27.2), x_reflection=True))
digital_cs.add(gdstk.Reference(sky130_fd_sc_hd__tapvpwr, (31.28,27.2), x_reflection=True))
digital_cs.add(gdstk.Reference(sky130_ef_sc_hd__decap_1, (37.26,27.2), x_reflection=True))
digital_cs.add(gdstk.Reference(sky130_fd_sc_hd__decap_3, (44.16,27.2), rotation=pi))
digital_cs.add(gdstk.Reference(sky130_ef_sc_hd__decap_1, (6.9,27.2)))
digital_cs.add(gdstk.Reference(sky130_ef_sc_hd__decap_1, (6.9,32.64), x_reflection=True))
digital_cs.add(gdstk.Reference(sky130_fd_sc_hd__decap_3, (5.52,27.2)))
digital_cs.add(gdstk.Reference(sky130_fd_sc_hd__decap_3, (5.52,32.64), x_reflection=True))
digital_cs.add(gdstk.Reference(sky130_ef_sc_hd__decap_1, (12.42,27.2)))
digital_cs.add(gdstk.Reference(sky130_ef_sc_hd__decap_1, (12.42,32.64), x_reflection=True))
digital_cs.add(gdstk.Reference(sky130_fd_sc_hd__fill_1, (17.94,27.2)))
digital_cs.add(gdstk.Reference(sky130_ef_sc_hd__decap_1, (18.86,27.2)))
digital_cs.add(gdstk.Reference(sky130_ef_sc_hd__decap_1, (17.94,32.64), x_reflection=True))
digital_cs.add(gdstk.Reference(sky130_fd_sc_hd__tapvpwr, (18.4,27.2)))
digital_cs.add(gdstk.Reference(sky130_ef_sc_hd__decap_1, (24.38,27.2)))
digital_cs.add(gdstk.Reference(sky130_ef_sc_hd__decap_1, (23.46,32.64), x_reflection=True))
digital_cs.add(gdstk.Reference(sky130_fd_sc_hd__decap_4, (28.98,32.64), x_reflection=True))
digital_cs.add(gdstk.Reference(sky130_ef_sc_hd__decap_1, (29.9,27.2)))
digital_cs.add(gdstk.Reference(sky130_fd_sc_hd__fill_1, (30.82,32.64), x_reflection=True))
digital_cs.add(gdstk.Reference(sky130_ef_sc_hd__decap_1, (31.74,32.64), x_reflection=True))
digital_cs.add(gdstk.Reference(sky130_fd_sc_hd__tapvpwr, (31.28,32.64), x_reflection=True))
digital_cs.add(gdstk.Reference(sky130_ef_sc_hd__decap_1, (35.42,27.2)))
digital_cs.add(gdstk.Reference(sky130_fd_sc_hd__fill_1, (40.94,27.2)))
digital_cs.add(gdstk.Reference(sky130_ef_sc_hd__decap_1, (37.26,32.64), x_reflection=True))
digital_cs.add(gdstk.Reference(sky130_fd_sc_hd__decap_3, (44.16,27.2), rotation=pi, x_reflection=True))
digital_cs.add(gdstk.Reference(sky130_fd_sc_hd__decap_3, (44.16,32.64), rotation=pi))
digital_cs.add(gdstk.Reference(sky130_fd_sc_hd__conb_1, (41.4,27.2)))
digital_cs.add(gdstk.Reference(sky130_ef_sc_hd__decap_1, (6.9,32.64)))
digital_cs.add(gdstk.Reference(sky130_fd_sc_hd__decap_3, (5.52,32.64)))
digital_cs.add(gdstk.Reference(sky130_ef_sc_hd__decap_1, (12.42,32.64)))
digital_cs.add(gdstk.Reference(sky130_fd_sc_hd__fill_1, (17.94,32.64)))
digital_cs.add(gdstk.Reference(sky130_ef_sc_hd__decap_1, (18.86,32.64)))
digital_cs.add(gdstk.Reference(sky130_fd_sc_hd__tapvpwr, (18.4,32.64)))
digital_cs.add(gdstk.Reference(sky130_ef_sc_hd__decap_1, (24.38,32.64)))
digital_cs.add(gdstk.Reference(sky130_ef_sc_hd__decap_1, (29.9,32.64)))
digital_cs.add(gdstk.Reference(sky130_ef_sc_hd__decap_1, (35.42,32.64)))
digital_cs.add(gdstk.Reference(sky130_fd_sc_hd__decap_4, (40.94,32.64)))
digital_cs.add(gdstk.Reference(sky130_fd_sc_hd__decap_3, (44.16,32.64), rotation=pi, x_reflection=True))
digital_cs.add(gdstk.Reference(sky130_ef_sc_hd__decap_1, (6.9,38.08), x_reflection=True))
digital_cs.add(gdstk.Reference(sky130_fd_sc_hd__decap_3, (5.52,38.08), x_reflection=True))
digital_cs.add(gdstk.Reference(sky130_ef_sc_hd__decap_1, (12.42,38.08), x_reflection=True))
digital_cs.add(gdstk.Reference(sky130_ef_sc_hd__decap_1, (17.94,38.08), x_reflection=True))
digital_cs.add(gdstk.Reference(sky130_ef_sc_hd__decap_1, (23.46,38.08), x_reflection=True))
digital_cs.add(gdstk.Reference(sky130_fd_sc_hd__decap_4, (28.98,38.08), x_reflection=True))
digital_cs.add(gdstk.Reference(sky130_fd_sc_hd__fill_1, (30.82,38.08), x_reflection=True))
digital_cs.add(gdstk.Reference(sky130_ef_sc_hd__decap_1, (31.74,38.08), x_reflection=True))
digital_cs.add(gdstk.Reference(sky130_fd_sc_hd__tapvpwr, (31.28,38.08), x_reflection=True))
digital_cs.add(gdstk.Reference(sky130_ef_sc_hd__decap_1, (37.26,38.08), x_reflection=True))
digital_cs.add(gdstk.Reference(sky130_fd_sc_hd__decap_3, (44.16,38.08), rotation=pi))
digital_cs.add(gdstk.Reference(sky130_ef_sc_hd__decap_1, (6.9,38.08)))
digital_cs.add(gdstk.Reference(sky130_fd_sc_hd__decap_3, (5.52,38.08)))
digital_cs.add(gdstk.Reference(sky130_ef_sc_hd__decap_1, (12.42,38.08)))
digital_cs.add(gdstk.Reference(sky130_fd_sc_hd__fill_1, (17.94,38.08)))
digital_cs.add(gdstk.Reference(sky130_ef_sc_hd__decap_1, (18.86,38.08)))
digital_cs.add(gdstk.Reference(sky130_fd_sc_hd__tapvpwr, (18.4,38.08)))
digital_cs.add(gdstk.Reference(sky130_ef_sc_hd__decap_1, (24.38,38.08)))
digital_cs.add(gdstk.Reference(sky130_ef_sc_hd__decap_1, (29.9,38.08)))
digital_cs.add(gdstk.Reference(sky130_ef_sc_hd__decap_1, (35.42,38.08)))
digital_cs.add(gdstk.Reference(sky130_fd_sc_hd__decap_4, (40.94,38.08)))
digital_cs.add(gdstk.Reference(sky130_fd_sc_hd__decap_3, (44.16,38.08), rotation=pi, x_reflection=True))
digital_cs.add(gdstk.Reference(sky130_ef_sc_hd__decap_1, (6.9,43.52), x_reflection=True))
digital_cs.add(gdstk.Reference(sky130_fd_sc_hd__decap_3, (5.52,43.52), x_reflection=True))
digital_cs.add(gdstk.Reference(sky130_ef_sc_hd__decap_1, (12.42,43.52), x_reflection=True))
digital_cs.add(gdstk.Reference(sky130_ef_sc_hd__decap_1, (17.94,43.52), x_reflection=True))
digital_cs.add(gdstk.Reference(sky130_ef_sc_hd__decap_1, (23.46,43.52), x_reflection=True))
digital_cs.add(gdstk.Reference(sky130_fd_sc_hd__decap_4, (28.98,43.52), x_reflection=True))
digital_cs.add(gdstk.Reference(sky130_fd_sc_hd__fill_1, (30.82,43.52), x_reflection=True))
digital_cs.add(gdstk.Reference(sky130_ef_sc_hd__decap_1, (31.74,43.52), x_reflection=True))
digital_cs.add(gdstk.Reference(sky130_fd_sc_hd__tapvpwr, (31.28,43.52), x_reflection=True))
digital_cs.add(gdstk.Reference(sky130_ef_sc_hd__decap_1, (37.26,43.52), x_reflection=True))
digital_cs.add(gdstk.Reference(sky130_fd_sc_hd__decap_3, (44.16,43.52), rotation=pi))
digital_cs.add(gdstk.Reference(sky130_ef_sc_hd__decap_1, (6.9,43.52)))
digital_cs.add(gdstk.Reference(sky130_fd_sc_hd__decap_3, (5.52,43.52)))
digital_cs.add(gdstk.Reference(sky130_ef_sc_hd__decap_1, (12.42,43.52)))
digital_cs.add(gdstk.Reference(sky130_fd_sc_hd__fill_1, (17.94,43.52)))
digital_cs.add(gdstk.Reference(sky130_ef_sc_hd__decap_1, (18.86,43.52)))
digital_cs.add(gdstk.Reference(sky130_fd_sc_hd__tapvpwr, (18.4,43.52)))
digital_cs.add(gdstk.Reference(sky130_ef_sc_hd__decap_1, (24.38,43.52)))
digital_cs.add(gdstk.Reference(sky130_ef_sc_hd__decap_1, (29.9,43.52)))
digital_cs.add(gdstk.Reference(sky130_ef_sc_hd__decap_1, (35.42,43.52)))
digital_cs.add(gdstk.Reference(sky130_fd_sc_hd__decap_4, (40.94,43.52)))
digital_cs.add(gdstk.Reference(sky130_fd_sc_hd__decap_3, (44.16,43.52), rotation=pi, x_reflection=True))
digital_cs.add(gdstk.Reference(sky130_ef_sc_hd__decap_1, (9.66,48.96), x_reflection=True))
digital_cs.add(gdstk.Reference(sky130_fd_sc_hd__decap_3, (5.52,48.96), x_reflection=True))
digital_cs.add(gdstk.Reference(sky130_fd_sc_hd__conb_1, (8.28,48.96), rotation=pi))
digital_cs.add(gdstk.Reference(sky130_fd_sc_hd__conb_1, (9.66,48.96), rotation=pi))
digital_cs.add(gdstk.Reference(sky130_fd_sc_hd__decap_6, (15.18,48.96), x_reflection=True))
digital_cs.add(gdstk.Reference(sky130_fd_sc_hd__fill_1, (17.94,48.96), x_reflection=True))
digital_cs.add(gdstk.Reference(sky130_ef_sc_hd__decap_1, (18.86,48.96), x_reflection=True))
digital_cs.add(gdstk.Reference(sky130_fd_sc_hd__tapvpwr, (18.4,48.96), x_reflection=True))
digital_cs.add(gdstk.Reference(sky130_ef_sc_hd__decap_1, (24.38,48.96), x_reflection=True))
digital_cs.add(gdstk.Reference(sky130_fd_sc_hd__decap_3, (29.9,48.96), x_reflection=True))
digital_cs.add(gdstk.Reference(sky130_ef_sc_hd__decap_1, (31.74,48.96), x_reflection=True))
digital_cs.add(gdstk.Reference(sky130_fd_sc_hd__tapvpwr, (31.28,48.96), x_reflection=True))
digital_cs.add(gdstk.Reference(sky130_ef_sc_hd__decap_1, (37.26,48.96), x_reflection=True))
digital_cs.add(gdstk.Reference(sky130_fd_sc_hd__decap_3, (44.16,48.96), rotation=pi))
digital_cs.add(gdstk.Label('VGND', (24.84,48.96), layer=68, texttype=5))
digital_cs.add(gdstk.Label('VPWR', (24.09,46.24), layer=68, texttype=5))
digital_cs.add(gdstk.Label('net1', (29.21,5.135), layer=69, texttype=5))
digital_cs.add(gdstk.Label('net2', (5.98,47.77), layer=68, texttype=5))
digital_cs.add(gdstk.Label('net3', (5.98,47.43), layer=68, texttype=5))
digital_cs.add(gdstk.Label('net4', (42.55,27.965), layer=69, texttype=5))
digital_cs.add(gdstk.Label('VGND', (24.84,45.58), layer=72, texttype=5))
digital_cs.add(gdstk.Label('VGND', (24.84,35.58), layer=72, texttype=5))
digital_cs.add(gdstk.Label('VGND', (24.84,25.58), layer=72, texttype=5))
digital_cs.add(gdstk.Label('VGND', (24.84,15.58), layer=72, texttype=5))
digital_cs.add(gdstk.Label('VGND', (40.22,29.92), layer=71, texttype=5))
digital_cs.add(gdstk.Label('VGND', (30.22,29.92), layer=71, texttype=5))
digital_cs.add(gdstk.Label('VGND', (20.22,29.92), layer=71, texttype=5))
digital_cs.add(gdstk.Label('VGND', (10.22,29.92), layer=71, texttype=5))
digital_cs.add(gdstk.Label('VPWR', (24.21,40.88), layer=72, texttype=5))
digital_cs.add(gdstk.Label('VPWR', (24.21,30.88), layer=72, texttype=5))
digital_cs.add(gdstk.Label('VPWR', (24.21,20.88), layer=72, texttype=5))
digital_cs.add(gdstk.Label('VPWR', (24.21,10.88), layer=72, texttype=5))
digital_cs.add(gdstk.Label('VPWR', (35.52,29.29), layer=71, texttype=5))
digital_cs.add(gdstk.Label('VPWR', (25.52,29.29), layer=71, texttype=5))
digital_cs.add(gdstk.Label('VPWR', (15.52,29.29), layer=71, texttype=5))
digital_cs.add(gdstk.Label('VPWR', (5.52,29.29), layer=71, texttype=5))
digital_cs.add(gdstk.Label('clk', (13.11,2), layer=69, texttype=5))
digital_cs.add(gdstk.Label('enable', (47.79,44.54), layer=70, texttype=5))
digital_cs.add(gdstk.Label('f_select[0]', (45.31,2), layer=69, texttype=5))
digital_cs.add(gdstk.Label('f_select[1]', (2,13.94), layer=70, texttype=5))
digital_cs.add(gdstk.Label('f_select[2]', (2,30.94), layer=70, texttype=5))
digital_cs.add(gdstk.Label('f_select[3]', (0.23,2), layer=69, texttype=5))
digital_cs.add(gdstk.Label('f_select[4]', (35.65,58.51), layer=69, texttype=5))
digital_cs.add(gdstk.Label('f_select[5]', (47.79,10.54), layer=70, texttype=5))
digital_cs.add(gdstk.Label('f_select[6]', (19.55,58.51), layer=69, texttype=5))
digital_cs.add(gdstk.Label('f_select[7]', (48.53,58.51), layer=69, texttype=5))
digital_cs.add(gdstk.Label('phi_l1', (29.21,2), layer=69, texttype=5))
digital_cs.add(gdstk.Label('phi_l2', (2,47.94), layer=70, texttype=5))
digital_cs.add(gdstk.Label('phi_p', (3.45,58.51), layer=69, texttype=5))
digital_cs.add(gdstk.Label('phi_r', (47.79,27.54), layer=70, texttype=5))

lib.write_gds('digital_cs.gds')
